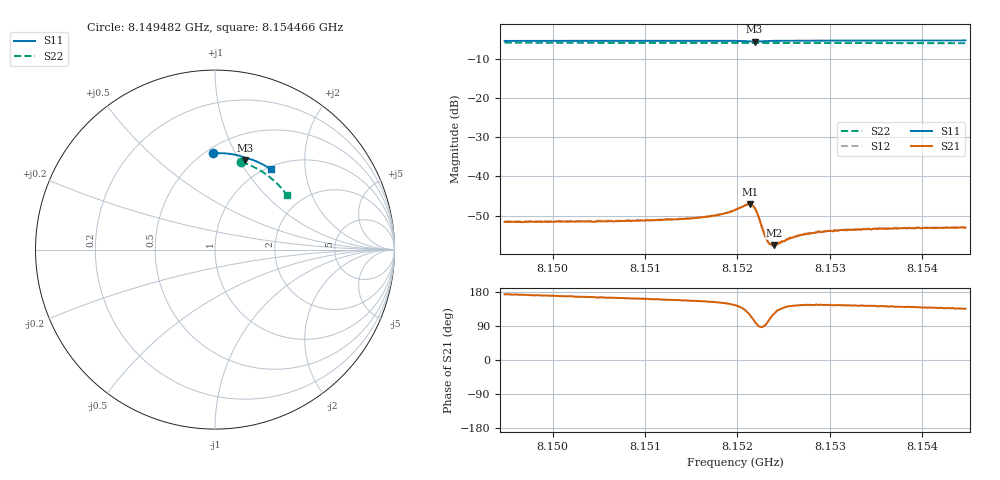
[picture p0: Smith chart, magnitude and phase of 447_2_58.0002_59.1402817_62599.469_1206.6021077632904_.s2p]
#  HZ  S  RI  R  50.00
! Rohde & Schwarz Vector Network Analyzer
! Rohde-Schwarz,ZNB20-2Port,1311601062101988,3.16
! Created: UTC 3/21/2024, 1:10:18 AM
! freq[Hz]  re:S11  im:S11  re:S21  im:S21  re:S12  im:S12  re:S22  im:S22
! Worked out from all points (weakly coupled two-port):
!   401 points, 8.149482 GHz to 8.154466 GHz, reference 50 ohm
!   highest |S21| = -47.09 dB at 8.152136 GHz (marker M1); lowest = -57.5 dB at 8.152398 GHz (marker M2)
!   lowest |S11| = -5.6 dB at 8.152186 GHz (marker M3), VSWR 3.23, Z = 38.4 + j53.1 ohm
!   |S11| at or under -10 dB: nowhere
!   |S22| runs from -6.0 to -5.8 dB; largest |S21 - S12| = 0.00011
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8.1494818e9  -0.0116 0.5374  -0.0026 0.000303  -0.00267 0.000363  0.1462 0.4889
8.1503167e9  0.0468 0.5369  -0.0026 0.000614  -0.00261 0.000629  0.1964 0.4697
8.1511516e9  0.1046 0.53  -0.00261 0.000967  -0.00265 0.000985  0.2441 0.4454
8.1514631e9  0.1262 0.5256  -0.00266 0.00113  -0.00265 0.00115  0.2611 0.4352
8.1516749e9  0.1414 0.5219  -0.00275 0.00134  -0.00277 0.00141  0.2724 0.4277
8.1518244e9  0.1522 0.5185  -0.00286 0.00158  -0.00289 0.00164  0.2803 0.4223
8.151974e9  0.1636 0.5135  -0.00304 0.00217  -0.00305 0.00221  0.288 0.4167
8.1520861e9  0.1712 0.5063  -0.00282 0.00323  -0.00279 0.00327  0.2937 0.4122
8.152136e9  0.1718 0.5016  -0.00212 0.00388  -0.00211 0.00392  0.2958 0.4104
8.1521609e9  0.1706 0.4998  -0.0015 0.00401  -0.00149 0.00405  0.2973 0.4093
8.1521858e9  0.1688 0.4992  -0.000807 0.00388  -0.000753 0.00396  0.2981 0.4083
8.1522232e9  0.167 0.5009  -5.2e-05 0.00318  -3.42e-05 0.0032  0.3002 0.4072
8.1522855e9  0.1696 0.5056  3.38e-05 0.00191  7.65e-05 0.00193  0.3032 0.405
8.1523229e9  0.1728 0.5073  -0.00024 0.0015  -0.000209 0.0015  0.3052 0.4036
8.1523602e9  0.1763 0.508  -0.00051 0.00125  -0.000491 0.00126  0.3069 0.4022
8.1523976e9  0.1796 0.5081  -0.000704 0.00113  -0.000682 0.00116  0.309 0.4007
8.1525472e9  0.1919 0.5059  -0.00123 0.000983  -0.00125 0.00104  0.3162 0.3947
8.1527091e9  0.2035 0.5023  -0.00147 0.00102  -0.00149 0.0011  0.3242 0.3878
8.1528088e9  0.2104 0.4998  -0.00155 0.00108  -0.00156 0.00106  0.3288 0.3836
8.1531702e9  0.2343 0.49  -0.00168 0.0012  -0.00168 0.00128  0.3455 0.3681
8.1536437e9  0.264 0.4754  -0.0017 0.00138  -0.00169 0.00134  0.366 0.3464
8.1544661e9  0.313 0.4464  -0.00158 0.00156  -0.00158 0.0016  0.3986 0.3063
